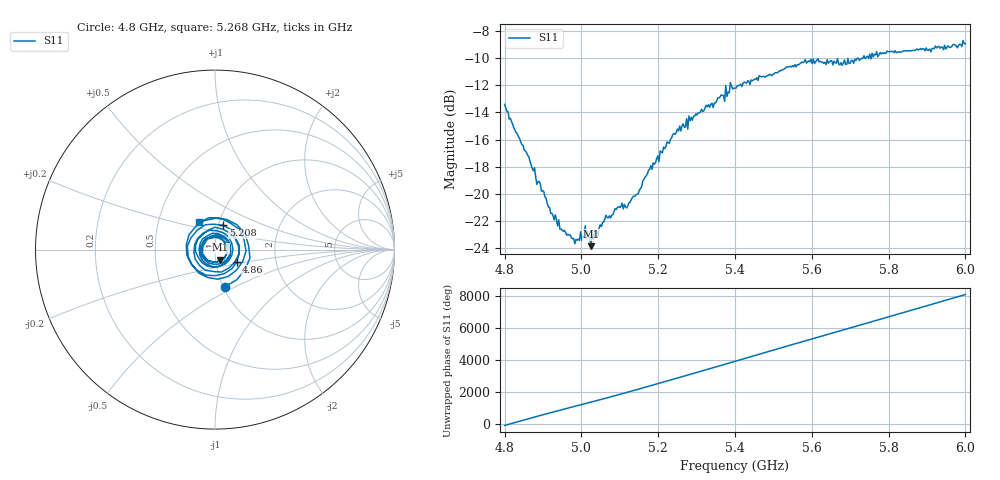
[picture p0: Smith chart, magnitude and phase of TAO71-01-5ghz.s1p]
! NanoVNA-App
! Date: 2026-05-23 15:21:54
! Start: 4.8GHz Stop: 6GHz Points: 401
! S-Parameter data: F S11
# Hz S RI R 50
!  Frequency  S11_Real  S11_Imag
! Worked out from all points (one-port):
!   401 points, 4.8 GHz to 6 GHz, reference 50 ohm
!   lowest |S11| = -23.9 dB at 5.025 GHz (marker M1), VSWR 1.14, Z = 52.7 - j6.02 ohm
!   |S11| at or under -10 dB: start of sweep to 5.733 GHz; 5.738545 GHz to 5.739936 GHz (1.391 MHz wide, 0.0242 % of centre); 5.747793 GHz to 5.748102 GHz (309 kHz wide, 0.00538 % of centre) (the widest 3 of 4)
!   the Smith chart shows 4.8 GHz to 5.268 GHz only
!   S11 on the Smith chart (normalised r, x): 4.8 GHz: 1.03, -0.44; 4.86 GHz: 1.26, -0.18; 5.208 GHz: 1.06, +0.29; 5.268 GHz: 0.80, +0.25
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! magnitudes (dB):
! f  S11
! 4.8 GHz  -13.4
! 4.86 GHz  -17.2
! 4.923 GHz  -21.4
! 4.95 GHz  -22.7
! 4.983 GHz  -23.7
! 5.01 GHz  -22.4
! 5.025 GHz  -23.9
! 5.037 GHz  -22.7
! 5.061 GHz  -21.9
! 5.1 GHz  -21.0
! 5.115 GHz  -21.0
! 5.145 GHz  -20.0
! 5.175 GHz  -18.3
! 5.208 GHz  -16.9
! 5.25 GHz  -15.2
! 5.268 GHz  -15.1
! 5.361 GHz  -12.9
! 5.379 GHz  -12.8
! 5.382 GHz  -12.5
! 5.4 GHz  -12.2
! 5.55 GHz  -10.6
! 5.598 GHz  -10.1
! 5.676 GHz  -10.3
! 5.7 GHz  -10.4
! 5.802 GHz  -9.5
! 5.85 GHz  -9.5
! 5.907 GHz  -9.3
! 6 GHz  -8.9
